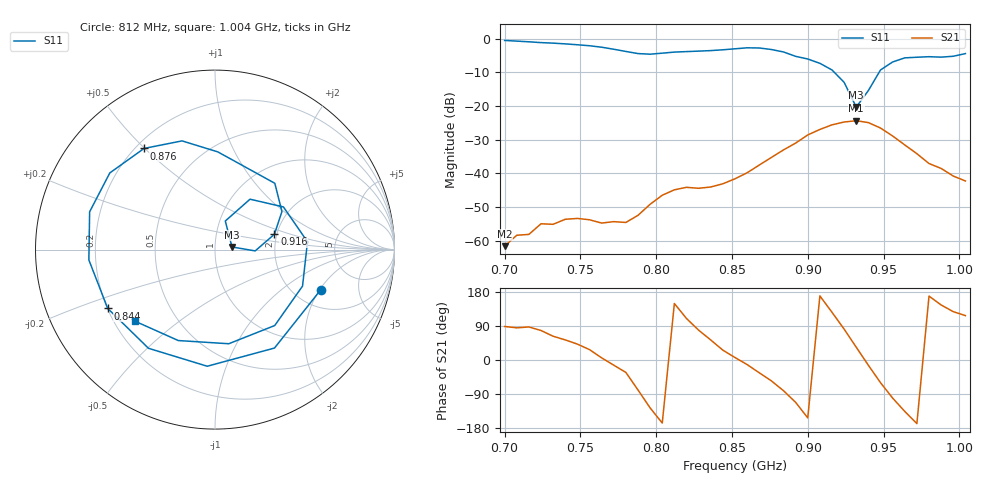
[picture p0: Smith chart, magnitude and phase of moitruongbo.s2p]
# Hz S RI R 50
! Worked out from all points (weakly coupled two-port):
!   39 points, 700 MHz to 1.004 GHz, reference 50 ohm
!   highest |S21| = -24.39 dB at 932 MHz (marker M1); lowest = -61.7 dB at 700 MHz (marker M2)
!   lowest |S11| = -20.4 dB at 932 MHz (marker M3), VSWR 1.21, Z = 60.5 + j1.8 ohm
!   |S11| at or under -10 dB: 917.5 MHz to 947.1 MHz (29.63 MHz wide, 3.18 % of centre)
!   S12 and S22 are empty: the file has one direction only
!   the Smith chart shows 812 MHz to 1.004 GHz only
!   S11 on the Smith chart (normalised r, x): 812 MHz: 2.75, -2.04; 844 MHz: 0.20, -0.25; 876 MHz: 0.23, +0.50; 916 MHz: 1.94, +0.38; 1.004 GHz: 0.29, -0.35
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7e8  0.7525 0.5599  2.19e-05 0.000825  0 0  0 0
7.24e8  0.8398 -0.2331  0.000372 0.00174  0 0  0 0
7.4e8  0.4676 -0.6911  0.00124 0.00165  0 0  0 0
7.56e8  -0.1744 -0.7632  0.00181 0.000937  0 0  0 0
7.72e8  -0.6582 -0.2216  0.00186 -0.00045  0 0  0 0
7.8e8  -0.6127 0.198  0.00156 -0.00101  0 0  0 0
7.88e8  -0.2893 0.5242  0.000447 -0.00233  0 0  0 0
7.96e8  0.1936 0.5537  -0.00205 -0.00278  0 0  0 0
8.04e8  0.5594 0.2364  -0.00458 -0.00111  0 0  0 0
8.12e8  0.5889 -0.2242  -0.00486 0.00291  0 0  0 0
8.28e8  -0.0433 -0.6498  0.00117 0.00586  0 0  0 0
8.44e8  -0.5978 -0.3277  0.00627 0.00305  0 0  0 0
8.52e8  -0.7028 -0.0574  0.00821 0.000941  0 0  0 0
8.76e8  -0.3952 0.5636  0.00983 -0.0141  0 0  0 0
8.92e8  0.0157 0.5444  -0.0104 -0.026  0 0  0 0
9.08e8  0.3729 0.2121  -0.0439 0.00844  0 0  0 0
9.16e8  0.331 0.0854  -0.0306 0.0424  0 0  0 0
9.32e8  0.0949 0.0147  0.0502 0.0335  0 0  0 0
9.56e8  0.3813 0.2377  -0.00652 -0.0352  0 0  0 0
9.72e8  0.4876 -0.2034  -0.0191 -0.00411  0 0  0 0
9.88e8  0.0765 -0.5245  -0.00967 0.00672  0 0  0 0
1.004e9  -0.4458 -0.3988  -0.0035 0.00683  0 0  0 0
